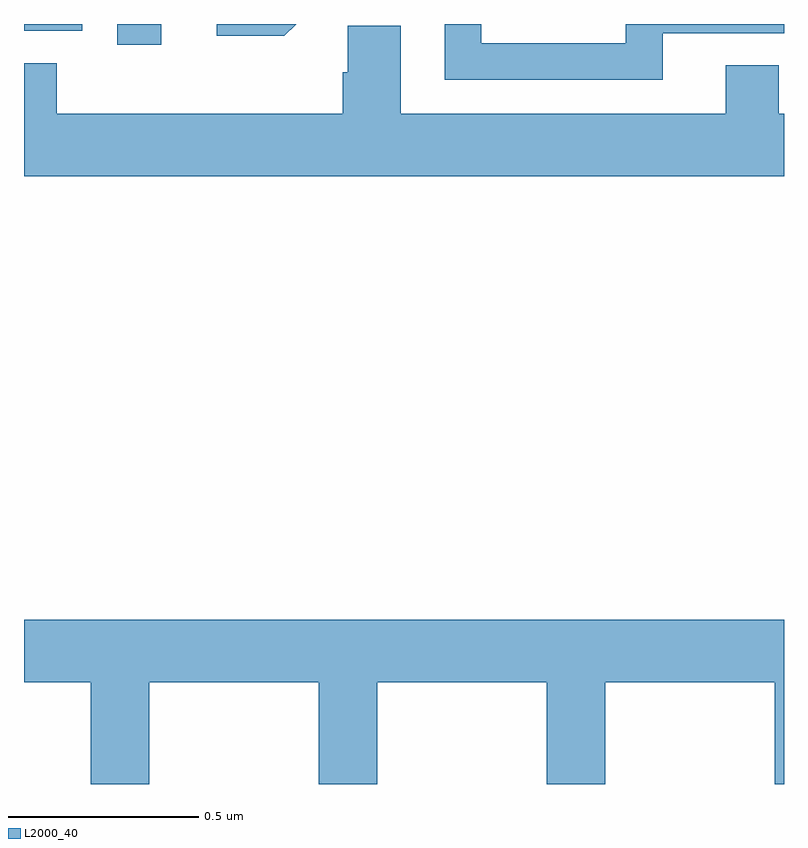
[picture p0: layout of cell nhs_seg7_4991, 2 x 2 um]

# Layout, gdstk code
import gdstk
lib = gdstk.Library(unit=1e-6, precision=1e-09)
def R(c, l, rs):  # rectangles x0, y0, x1, y1
    for r in rs: c.add(gdstk.rectangle(r[:2], r[2:], *l))
def P(c, l, *ps):  # polygons
    for p in ps: c.add(gdstk.Polygon(p, *l))
L2000_40 = (2000, 40)

nhs_seg7_4991 = lib.new_cell('nhs_seg7_4991')
R(nhs_seg7_4991, L2000_40, [(180.246,1016.946,180.361,1017), (180,1016.982,180.153,1017)])
P(nhs_seg7_4991, L2000_40, [(180.716,1017),(180.507,1017),(180.507,1016.969),(180.685,1016.969)],
  [(181.681,1016.976),(182,1016.976),(182,1017),(181.584,1017),(181.584,1016.949),(181.203,1016.949),(181.203,1017),(181.107,1017),(181.107,1016.853),(181.681,1016.853)],
  [(182,1016.764),(181.986,1016.764),(181.986,1016.891),(181.847,1016.891),(181.847,1016.764),(180.991,1016.764),(180.991,1016.996),(180.852,1016.996),(180.852,1016.873),(180.839,1016.873),(180.839,1016.764),(180.086,1016.764),(180.086,1016.897),(180,1016.897),(180,1016.6),(182,1016.6)],
  [(180.33,1015.268),(180.775,1015.268),(180.775,1015),(180.93,1015),(180.93,1015.268),(181.375,1015.268),(181.375,1015),(181.53,1015),(181.53,1015.268),(181.975,1015.268),(181.975,1015),(182,1015),(182,1015.432),(180,1015.432),(180,1015.268),(180.175,1015.268),(180.175,1015),(180.33,1015)])

lib.write_gds('nhs_seg7_4991.gds')
